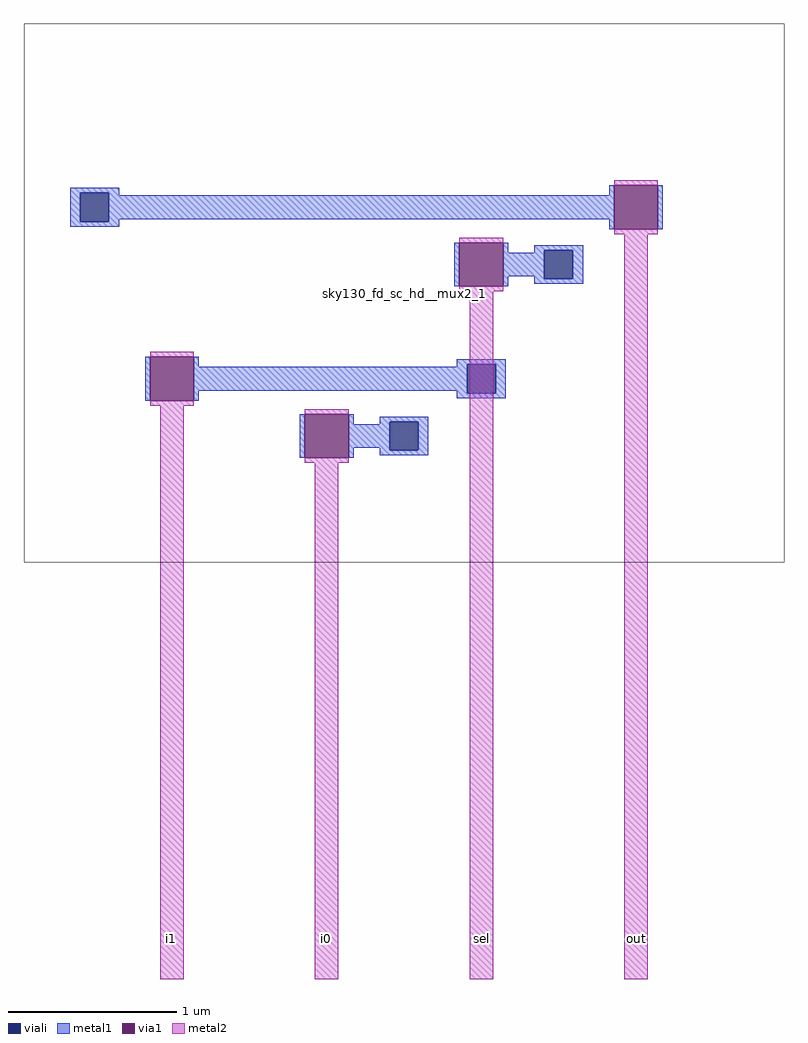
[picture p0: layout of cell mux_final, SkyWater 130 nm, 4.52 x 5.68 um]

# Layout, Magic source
magic
tech sky130A
magscale 1 2
<< viali >>
rect 673 901 707 935
rect 1225 833 1259 867
rect 1133 697 1167 731
rect 1041 629 1075 663
<< metal1 >>
rect 661 935 719 941
rect 661 901 673 935
rect 707 932 719 935
rect 1302 932 1308 944
rect 707 904 1308 932
rect 707 901 719 904
rect 661 895 719 901
rect 1302 892 1308 904
rect 1360 892 1366 944
rect 1118 824 1124 876
rect 1176 864 1182 876
rect 1213 867 1271 873
rect 1213 864 1225 867
rect 1176 836 1225 864
rect 1176 824 1182 836
rect 1213 833 1225 836
rect 1259 833 1271 867
rect 1213 827 1271 833
rect 750 688 756 740
rect 808 728 814 740
rect 1121 731 1179 737
rect 1121 728 1133 731
rect 808 700 1133 728
rect 808 688 814 700
rect 1121 697 1133 700
rect 1167 697 1179 731
rect 1121 691 1179 697
rect 934 620 940 672
rect 992 660 998 672
rect 1029 663 1087 669
rect 1029 660 1041 663
rect 992 632 1041 660
rect 992 620 998 632
rect 1029 629 1041 632
rect 1075 629 1087 663
rect 1029 623 1087 629
<< via1 >>
rect 1308 892 1360 944
rect 1124 824 1176 876
rect 756 688 808 740
rect 940 620 992 672
<< metal2 >>
rect 1308 944 1360 950
rect 1308 886 1360 892
rect 1124 876 1176 882
rect 1124 818 1176 824
rect 756 740 808 746
rect 756 682 808 688
rect 768 0 796 682
rect 940 672 992 678
rect 940 614 992 620
rect 952 0 980 614
rect 1136 0 1164 818
rect 1320 0 1348 886
use sky130_fd_sc_hd__mux2_1  _4_
transform 1 0 644 0 1 544
box -38 -48 866 592
<< labels >>
flabel metal2 s 952 0 980 97 0 FreeSans 224 90 0 0 i0
port 0 nsew signal input
flabel metal2 s 768 0 796 97 0 FreeSans 224 90 0 0 i1
port 1 nsew signal input
flabel metal2 s 1320 0 1348 97 0 FreeSans 224 90 0 0 out
port 2 nsew signal output
flabel metal2 s 1136 0 1164 97 0 FreeSans 224 90 0 0 sel
port 3 nsew signal input
<< properties >>
string FIXED_BBOX 0 0 2025 2025
<< end >>
